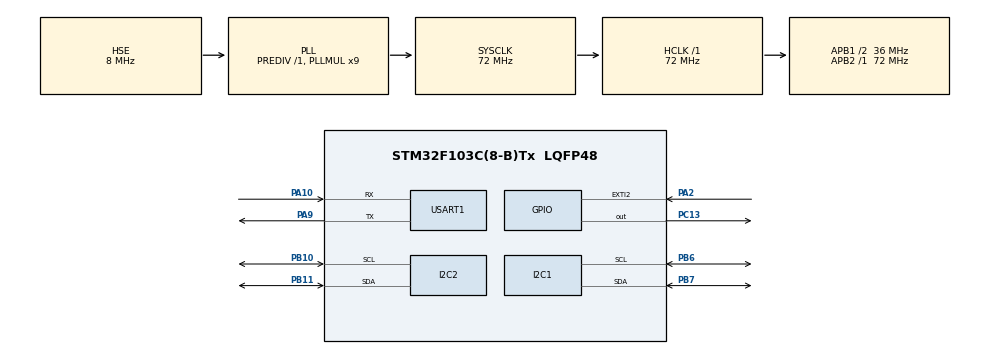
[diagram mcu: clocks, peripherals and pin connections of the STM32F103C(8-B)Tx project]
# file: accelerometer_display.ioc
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I2C1.I2C_Mode=I2C_Fast
Mcu.Family=STM32F1
Mcu.Name=STM32F103C(8-B)Tx
Mcu.Package=LQFP48
NVIC.EXTI2_IRQn=true\:0\:0\:false\:false\:true\:true\:true\:true
NVIC.PriorityGroup=NVIC_PRIORITYGROUP_4
NVIC.TIM1_UP_IRQn=true\:0\:0\:false\:false\:true\:true\:true\:true
PA10.Mode=Asynchronous
PA10.Signal=USART1_RX
PA2.GPIO_ModeDefaultEXTI=GPIO_MODE_IT_FALLING
PA2.GPIO_PuPd=GPIO_PULLUP
PA2.Signal=GPXTI2
PA9.Mode=Asynchronous
PA9.Signal=USART1_TX
PB10.Mode=I2C
PB10.Signal=I2C2_SCL
PB11.Mode=I2C
PB11.Signal=I2C2_SDA
PB6.Mode=I2C
PB6.Signal=I2C1_SCL
PB7.Mode=I2C
PB7.Signal=I2C1_SDA
PC13-TAMPER-RTC.Signal=GPIO_Output
PD0-OSC_IN.Mode=HSE-External-Oscillator
PD0-OSC_IN.Signal=RCC_OSC_IN
PD1-OSC_OUT.Mode=HSE-External-Oscillator
PD1-OSC_OUT.Signal=RCC_OSC_OUT
ProjectManager.HeapSize=0x200
ProjectManager.StackSize=0x400
ProjectManager.TargetToolchain=STM32CubeIDE
RCC.AHBFreq_Value=72000000
RCC.APB1CLKDivider=RCC_HCLK_DIV2
RCC.APB1Freq_Value=36000000
RCC.APB1TimFreq_Value=72000000
RCC.APB2Freq_Value=72000000
RCC.APB2TimFreq_Value=72000000
RCC.HCLKFreq_Value=72000000
RCC.PLLMUL=RCC_PLL_MUL9
RCC.PLLSourceVirtual=RCC_PLLSOURCE_HSE
RCC.SYSCLKFreq_VALUE=72000000
RCC.SYSCLKSource=RCC_SYSCLKSOURCE_PLLCLK
RCC.USBFreq_Value=72000000
TIM1.AutoReloadPreload=TIM_AUTORELOAD_PRELOAD_ENABLE
TIM1.Period=10000-1
TIM1.Prescaler=7200-1
USART1.VirtualMode=VM_ASYNC
VP_TIM1_VS_ClockSourceINT.Mode=Internal
board=custom

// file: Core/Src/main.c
/* USER CODE BEGIN Header */
/**
  ******************************************************************************
  * @file           : main.c
  * @brief          : Main program body
  ******************************************************************************
  * @attention
  *
  * Copyright (c) 2025 STMicroelectronics.
  * All rights reserved.
  *
  * This software is licensed under terms that can be found in the LICENSE file
  * in the root directory of this software component.
  * If no LICENSE file comes with this software, it is provided AS-IS.
  *
  ******************************************************************************
  */
/* USER CODE END Header */
#include "main.h"

/* USER CODE BEGIN Includes */
#define UPDATE_DELAY 50

/* USER CODE END Includes */

I2C_HandleTypeDef hi2c1;
I2C_HandleTypeDef hi2c2;

TIM_HandleTypeDef htim1;

UART_HandleTypeDef huart1;

void SystemClock_Config(void);
static void MX_GPIO_Init(void);
static void MX_I2C1_Init(void);
static void MX_I2C2_Init(void);
static void MX_USART1_UART_Init(void);
static void MX_TIM1_Init(void);
/* USER CODE BEGIN PFP */
extern int8_t isDisplayEnabled;
/* USER CODE END PFP */

int main(void)
{

  /* MCU Configuration--------------------------------------------------------*/

  /* Reset of all peripherals, Initializes the Flash interface and the Systick. */
  HAL_Init();

  /* Configure the system clock */
  SystemClock_Config();

  /* Initialize all configured peripherals */
  MX_GPIO_Init();
  MX_I2C1_Init();
  MX_I2C2_Init();
  MX_USART1_UART_Init();
  MX_TIM1_Init();
  /* USER CODE BEGIN 2 */
  INIT_LSM6DSO(&hi2c2);

  ssd1306_Init();
  ssd1306_FlipScreenVertically();
  ssd1306_Clear();
  ssd1306_SetColor(White);

  CirclePosition circlePos;
  circlePos.x = ssd1306_GetWidth() / 2;
  circlePos.y = ssd1306_GetHeight() / 2;

  HAL_TIM_Base_Start_IT(&htim1);
  /* USER CODE END 2 */

  /* Infinite loop */
  while (1)
  {

    /* USER CODE BEGIN 3 */
	  if (isDisplayEnabled) {
	 	  ssd1306_DisplayOn();
	  } else {
		 ssd1306_DisplayOff();
		 continue;
	  }

//	  char msg[350] = {};
//	  char msg1[350] = {};
//
//	  sprintf(msg, "g-x: %hi, g-y: %hi, g-z: %hi\n",
//	  get_x_g(&hi2c2), get_y_g(&hi2c2), get_z_g(&hi2c2));
//
//	  sprintf(msg1, "xl-x: %.4f, xl-y: %.4f, xl-z: %.4f\n",
//	  convert_accel_raw_to_g(get_x_xl(&hi2c2), 0.000061),
//	  convert_accel_raw_to_g(get_y_xl(&hi2c2), 0.000061),
//	  convert_accel_raw_to_g(get_z_xl(&hi2c2), 0.000061));
//
//	  HAL_UART_Transmit(&huart1, (const uint8_t *)msg, strlen(msg), 100);
//	  HAL_UART_Transmit(&huart1, (const uint8_t *)msg1, strlen(msg1), 100);
	  int16_t raw_x = get_x_xl(&hi2c2);
	  int16_t raw_y = get_y_xl(&hi2c2);

	  float accel_x = convert_accel_raw_to_g(raw_x, 0.000061f);
	  float accel_y = convert_accel_raw_to_g(raw_y, 0.000061f);
	  update_circle_position(&circlePos, accel_x, accel_y);
	  draw_circle(circlePos);
	  HAL_Delay(100);
  }
  /* USER CODE END 3 */
}

void SystemClock_Config(void)
{
  RCC_OscInitTypeDef RCC_OscInitStruct = {0};
  RCC_ClkInitTypeDef RCC_ClkInitStruct = {0};

  /** Initializes the RCC Oscillators according to the specified parameters
  * in the RCC_OscInitTypeDef structure.
  */
  RCC_OscInitStruct.OscillatorType = RCC_OSCILLATORTYPE_HSE;
  RCC_OscInitStruct.HSEState = RCC_HSE_ON;
  RCC_OscInitStruct.HSEPredivValue = RCC_HSE_PREDIV_DIV1;
  RCC_OscInitStruct.HSIState = RCC_HSI_ON;
  RCC_OscInitStruct.PLL.PLLState = RCC_PLL_ON;
  RCC_OscInitStruct.PLL.PLLSource = RCC_PLLSOURCE_HSE;
  RCC_OscInitStruct.PLL.PLLMUL = RCC_PLL_MUL9;
  if (HAL_RCC_OscConfig(&RCC_OscInitStruct) != HAL_OK)
  {
    Error_Handler();
  }

  /** Initializes the CPU, AHB and APB buses clocks
  */
  RCC_ClkInitStruct.ClockType = RCC_CLOCKTYPE_HCLK|RCC_CLOCKTYPE_SYSCLK
                              |RCC_CLOCKTYPE_PCLK1|RCC_CLOCKTYPE_PCLK2;
  RCC_ClkInitStruct.SYSCLKSource = RCC_SYSCLKSOURCE_PLLCLK;
  RCC_ClkInitStruct.AHBCLKDivider = RCC_SYSCLK_DIV1;
  RCC_ClkInitStruct.APB1CLKDivider = RCC_HCLK_DIV2;
  RCC_ClkInitStruct.APB2CLKDivider = RCC_HCLK_DIV1;

  if (HAL_RCC_ClockConfig(&RCC_ClkInitStruct, FLASH_LATENCY_2) != HAL_OK)
  {
    Error_Handler();
  }
}

static void MX_I2C1_Init(void)
{

  hi2c1.Instance = I2C1;
  hi2c1.Init.ClockSpeed = 400000;
  hi2c1.Init.DutyCycle = I2C_DUTYCYCLE_2;
  hi2c1.Init.OwnAddress1 = 0;
  hi2c1.Init.AddressingMode = I2C_ADDRESSINGMODE_7BIT;
  hi2c1.Init.DualAddressMode = I2C_DUALADDRESS_DISABLE;
  hi2c1.Init.OwnAddress2 = 0;
  hi2c1.Init.GeneralCallMode = I2C_GENERALCALL_DISABLE;
  hi2c1.Init.NoStretchMode = I2C_NOSTRETCH_DISABLE;
  if (HAL_I2C_Init(&hi2c1) != HAL_OK)
  {
    Error_Handler();
  }

}

static void MX_I2C2_Init(void)
{

  hi2c2.Instance = I2C2;
  hi2c2.Init.ClockSpeed = 100000;
  hi2c2.Init.DutyCycle = I2C_DUTYCYCLE_2;
  hi2c2.Init.OwnAddress1 = 0;
  hi2c2.Init.AddressingMode = I2C_ADDRESSINGMODE_7BIT;
  hi2c2.Init.DualAddressMode = I2C_DUALADDRESS_DISABLE;
  hi2c2.Init.OwnAddress2 = 0;
  hi2c2.Init.GeneralCallMode = I2C_GENERALCALL_DISABLE;
  hi2c2.Init.NoStretchMode = I2C_NOSTRETCH_DISABLE;
  if (HAL_I2C_Init(&hi2c2) != HAL_OK)
  {
    Error_Handler();
  }

}

static void MX_TIM1_Init(void)
{

  TIM_ClockConfigTypeDef sClockSourceConfig = {0};
  TIM_MasterConfigTypeDef sMasterConfig = {0};

  htim1.Instance = TIM1;
  htim1.Init.Prescaler = 7200-1;
  htim1.Init.CounterMode = TIM_COUNTERMODE_UP;
  htim1.Init.Period = 10000-1;
  htim1.Init.ClockDivision = TIM_CLOCKDIVISION_DIV1;
  htim1.Init.RepetitionCounter = 0;
  htim1.Init.AutoReloadPreload = TIM_AUTORELOAD_PRELOAD_ENABLE;
  if (HAL_TIM_Base_Init(&htim1) != HAL_OK)
  {
    Error_Handler();
  }
  sClockSourceConfig.ClockSource = TIM_CLOCKSOURCE_INTERNAL;
  if (HAL_TIM_ConfigClockSource(&htim1, &sClockSourceConfig) != HAL_OK)
  {
    Error_Handler();
  }
  sMasterConfig.MasterOutputTrigger = TIM_TRGO_RESET;
  sMasterConfig.MasterSlaveMode = TIM_MASTERSLAVEMODE_DISABLE;
  if (HAL_TIMEx_MasterConfigSynchronization(&htim1, &sMasterConfig) != HAL_OK)
  {
    Error_Handler();
  }

}

static void MX_USART1_UART_Init(void)
{

  huart1.Instance = USART1;
  huart1.Init.BaudRate = 115200;
  huart1.Init.WordLength = UART_WORDLENGTH_8B;
  huart1.Init.StopBits = UART_STOPBITS_1;
  huart1.Init.Parity = UART_PARITY_NONE;
  huart1.Init.Mode = UART_MODE_TX_RX;
  huart1.Init.HwFlowCtl = UART_HWCONTROL_NONE;
  huart1.Init.OverSampling = UART_OVERSAMPLING_16;
  if (HAL_UART_Init(&huart1) != HAL_OK)
  {
    Error_Handler();
  }

}

static void MX_GPIO_Init(void)
{
  GPIO_InitTypeDef GPIO_InitStruct = {0};

  /* GPIO Ports Clock Enable */
  __HAL_RCC_GPIOC_CLK_ENABLE();
  __HAL_RCC_GPIOD_CLK_ENABLE();
  __HAL_RCC_GPIOA_CLK_ENABLE();
  __HAL_RCC_GPIOB_CLK_ENABLE();

  /*Configure GPIO pin Output Level */
  HAL_GPIO_WritePin(GPIOC, GPIO_PIN_13, GPIO_PIN_RESET);

  /*Configure GPIO pin : PC13 */
  GPIO_InitStruct.Pin = GPIO_PIN_13;
  GPIO_InitStruct.Mode = GPIO_MODE_OUTPUT_PP;
  GPIO_InitStruct.Pull = GPIO_NOPULL;
  GPIO_InitStruct.Speed = GPIO_SPEED_FREQ_LOW;
  HAL_GPIO_Init(GPIOC, &GPIO_InitStruct);

  /*Configure GPIO pin : PA2 */
  GPIO_InitStruct.Pin = GPIO_PIN_2;
  GPIO_InitStruct.Mode = GPIO_MODE_IT_FALLING;
  GPIO_InitStruct.Pull = GPIO_PULLUP;
  HAL_GPIO_Init(GPIOA, &GPIO_InitStruct);

  /* EXTI interrupt init*/
  HAL_NVIC_SetPriority(EXTI2_IRQn, 0, 0);
  HAL_NVIC_EnableIRQ(EXTI2_IRQn);

}

void Error_Handler(void)
{
  __disable_irq();
  while (1)
  {
  }
}
